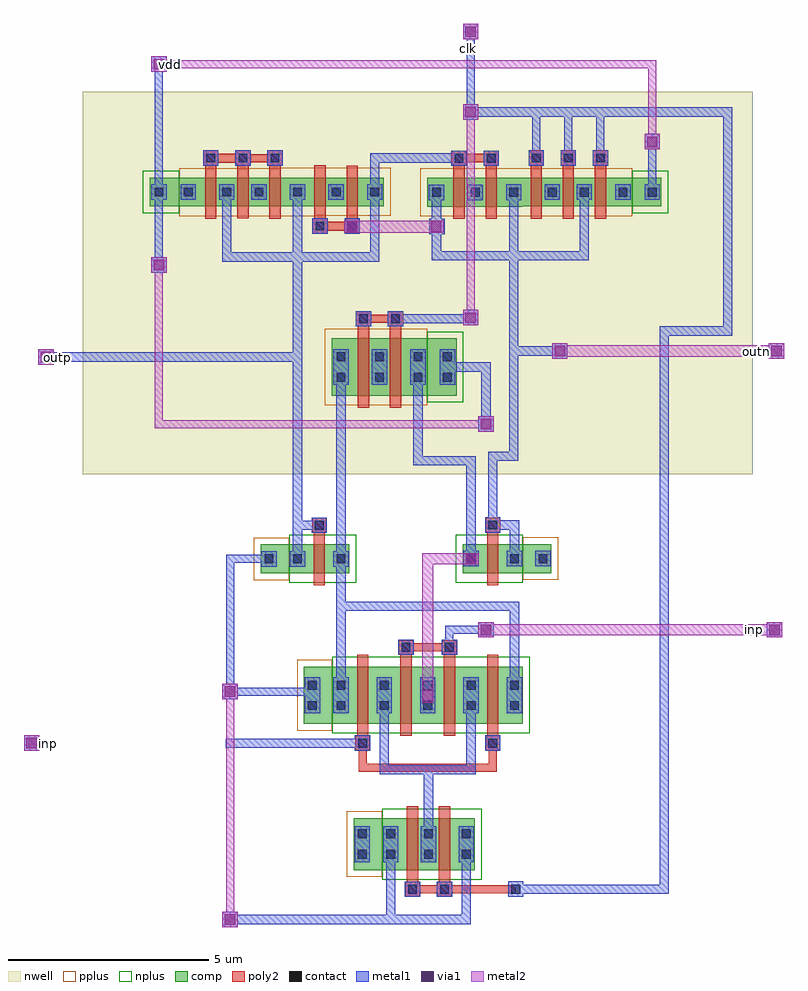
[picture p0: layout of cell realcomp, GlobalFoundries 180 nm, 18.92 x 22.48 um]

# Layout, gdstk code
from math import pi, radians
import gdstk
lib = gdstk.Library(unit=1e-6, precision=5e-09)
def R(c, l, rs):  # rectangles x0, y0, x1, y1
    for r in rs: c.add(gdstk.rectangle(r[:2], r[2:], *l))
def A(c, l, x, y, w, h, nx, ny, dx, dy):  # array of equal rectangles
    R(c, l, [(x+i*dx, y+j*dy, x+i*dx+w, y+j*dy+h) for i in range(nx) for j in range(ny)])
nwell = (21, 0)
comp = (22, 0)
poly2 = (30, 0)
pplus = (31, 0)
nplus = (32, 0)
contact = (33, 0)
metal1 = (34, 0)
via1 = (35, 0)
metal2 = (36, 0)

pfet_12 = lib.new_cell('pfet$12')
R(pfet_12, nwell, [(-1.15,-0.69,4.14,1.405)])
R(pfet_12, comp, [(-0.46,0,0,0.715), (0,0,2.26,0.715), (2.26,0,2.72,0.715), (2.72,0,3.45,0.715)])
A(pfet_12, poly2, 0.14, -0.68, 0.38, 0.38, 3, 1, 0.8, 0)
R(pfet_12, poly2, [(0.19,-0.3,0.47,1.015), (0.99,-0.3,1.27,1.01), (1.79,-0.3,2.07,1.015)])
R(pfet_12, pplus, [(-0.63,-0.24,2.72,0.955)])
R(pfet_12, nplus, [(2.72,-0.17,3.62,0.885)])
A(pfet_12, contact, 0.22, -0.6, 0.22, 0.22, 3, 1, 0.8, 0)
R(pfet_12, contact, [(-0.34,0.245,-0.12,0.465), (0.62,0.245,0.84,0.465), (1.42,0.245,1.64,0.465), (2.38,0.245,2.6,0.465), (3.11,0.245,3.33,0.465)])
A(pfet_12, metal1, 0.14, -0.68, 0.38, 0.38, 3, 1, 0.8, 0)
R(pfet_12, metal1, [(-0.42,0.165,-0.04,0.55), (0.54,0.165,0.92,0.55), (1.34,0.165,1.72,0.55), (2.3,0.165,2.68,0.55), (3.03,0.165,3.41,0.55)])

pfet = lib.new_cell('pfet')
R(pfet, nwell, [(-0.9,-0.44,2.36,1.155)])
R(pfet, comp, [(-0.46,0,0,0.715), (0,0,1.46,0.715), (1.46,0,1.92,0.715)])
R(pfet, poly2, [(0.14,-0.68,0.52,-0.3), (0.94,-0.68,1.32,-0.3), (0.19,-0.3,0.47,1.015), (0.99,-0.3,1.27,1.01)])
R(pfet, pplus, [(-0.63,-0.24,2.09,0.955)])
A(pfet, contact, -0.34, 0.245, 0.22, 0.22, 3, 1, 0.96, 0)
R(pfet, contact, [(0.22,-0.6,0.44,-0.38), (1.02,-0.6,1.24,-0.38)])
A(pfet, metal1, -0.42, 0.165, 0.38, 0.385, 3, 1, 0.96, 0)
R(pfet, metal1, [(0.14,-0.68,0.52,-0.3), (0.94,-0.68,1.32,-0.3)])

nfet_4 = lib.new_cell('nfet$4')
R(nfet_4, comp, [(-0.42,0,0,0.715), (0,0,0.66,0.715), (0.66,0,1.08,0.715), (1.08,0,1.79,0.715)])
R(nfet_4, poly2, [(0.15,-0.66,0.51,-0.3), (0.19,-0.3,0.47,1.015)])
R(nfet_4, pplus, [(1.08,-0.17,1.96,0.885)])
R(nfet_4, nplus, [(-0.59,-0.24,1.08,0.955)])
R(nfet_4, contact, [(0.22,-0.59,0.44,-0.37), (-0.32,0.245,-0.1,0.465), (0.76,0.245,0.98,0.465), (1.47,0.245,1.69,0.465)])
R(nfet_4, metal1, [(0.14,-0.67,0.52,-0.29), (-0.4,0.165,-0.02,0.55), (0.68,0.165,1.06,0.55), (1.39,0.165,1.77,0.55)])

nfet = lib.new_cell('nfet')
R(nfet, comp, [(-0.42,0,0,1.425), (0,0,0.66,1.425), (0.66,0,1.08,1.425)])
R(nfet, poly2, [(0.15,-0.66,0.51,-0.3), (0.19,-0.3,0.47,1.725)])
R(nfet, nplus, [(-0.59,-0.24,1.25,1.665)])
R(nfet, contact, [(0.22,-0.59,0.44,-0.37), (-0.32,0.35,-0.1,0.57), (0.76,0.35,0.98,0.57), (-0.32,0.86,-0.1,1.08), (0.76,0.86,0.98,1.08)])
R(nfet, metal1, [(0.14,-0.67,0.52,-0.29), (-0.4,0.27,-0.02,1.16), (0.68,0.27,1.06,1.16)])

nfet_9 = lib.new_cell('nfet$9')
R(nfet_9, comp, [(-0.42,0,0,0.715), (0,0,0.66,0.715), (0.66,0,1.08,0.715), (1.08,0,1.79,0.715)])
R(nfet_9, poly2, [(0.19,-0.3,0.47,1.015), (0.15,1.015,0.51,1.375)])
R(nfet_9, pplus, [(1.08,-0.17,1.96,0.885)])
R(nfet_9, nplus, [(-0.59,-0.24,1.08,0.955)])
R(nfet_9, contact, [(-0.32,0.245,-0.1,0.465), (0.76,0.245,0.98,0.465), (1.47,0.245,1.69,0.465), (0.22,1.085,0.44,1.305)])
R(nfet_9, metal1, [(-0.4,0.165,-0.02,0.55), (0.68,0.165,1.06,0.55), (1.39,0.165,1.77,0.55), (0.14,1,0.52,1.385)])

nfet_6 = lib.new_cell('nfet$6')
R(nfet_6, comp, [(-0.42,0,0,1.425), (0,0,0.66,1.425), (0.66,0,1.08,1.425), (1.08,0,1.79,1.425)])
R(nfet_6, poly2, [(0.19,-0.3,0.47,1.725), (0.15,1.725,0.51,2.085)])
R(nfet_6, pplus, [(1.08,-0.17,1.96,1.595)])
R(nfet_6, nplus, [(-0.59,-0.24,1.08,1.665)])
R(nfet_6, contact, [(-0.32,0.35,-0.1,0.57), (0.76,0.35,0.98,0.57), (1.47,0.35,1.69,0.57), (-0.32,0.86,-0.1,1.08), (0.76,0.86,0.98,1.08), (1.47,0.86,1.69,1.08), (0.22,1.795,0.44,2.015)])
R(nfet_6, metal1, [(-0.4,0.27,-0.02,1.16), (0.68,0.27,1.06,1.16), (1.39,0.27,1.77,1.16), (0.14,1.715,0.52,2.095)])

nfet_1 = lib.new_cell('nfet$1')
R(nfet_1, comp, [(-0.42,0,0,1.425), (0,0,0.66,1.425), (0.66,0,1.08,1.425)])
R(nfet_1, poly2, [(0.19,-0.3,0.47,1.725), (0.15,1.725,0.51,2.085)])
R(nfet_1, nplus, [(-0.59,-0.24,1.25,1.665)])
R(nfet_1, contact, [(-0.32,0.35,-0.1,0.57), (0.76,0.35,0.98,0.57), (-0.32,0.86,-0.1,1.08), (0.76,0.86,0.98,1.08), (0.22,1.795,0.44,2.015)])
R(nfet_1, metal1, [(-0.4,0.27,-0.02,1.16), (0.68,0.27,1.06,1.16), (0.14,1.715,0.52,2.095)])

nfet_7 = lib.new_cell('nfet$7')
R(nfet_7, comp, [(-0.42,0,0,1.29), (0,0,1.46,1.29), (1.46,0,1.88,1.29), (1.88,0,2.59,1.29)])
R(nfet_7, poly2, [(0.19,-0.3,0.47,1.59), (0.99,-0.3,1.27,1.59), (0.15,1.59,0.51,1.95), (0.95,1.59,1.31,1.95)])
R(nfet_7, pplus, [(1.88,-0.17,2.76,1.46)])
R(nfet_7, nplus, [(-0.59,-0.24,1.88,1.53)])
A(nfet_7, contact, -0.32, 0.28, 0.22, 0.22, 3, 2, 0.94, 0.51)
R(nfet_7, contact, [(2.27,0.28,2.49,0.5), (2.27,0.79,2.49,1.01), (0.22,1.66,0.44,1.88), (1.02,1.66,1.24,1.88)])
A(nfet_7, metal1, -0.4, 0.2, 0.38, 0.89, 3, 1, 0.94, 0)
R(nfet_7, metal1, [(2.19,0.2,2.57,1.09), (0.14,1.575,0.52,1.96), (0.94,1.575,1.32,1.96)])

pfet_3 = lib.new_cell('pfet$3')
R(pfet_3, nwell, [(-1.15,-0.69,3.34,2.115)])
R(pfet_3, comp, [(-0.46,0,0,1.425), (0,0,1.46,1.425), (1.46,0,1.92,1.425), (1.92,0,2.65,1.425)])
R(pfet_3, poly2, [(0.19,-0.3,0.47,1.725), (0.99,-0.3,1.27,1.725), (0.14,1.725,0.52,2.105), (0.94,1.725,1.32,2.105)])
R(pfet_3, pplus, [(-0.63,-0.24,1.92,1.665)])
R(pfet_3, nplus, [(1.92,-0.17,2.82,1.595)])
A(pfet_3, contact, -0.34, 0.35, 0.22, 0.22, 3, 2, 0.96, 0.51)
R(pfet_3, contact, [(2.31,0.35,2.53,0.57), (2.31,0.86,2.53,1.08), (0.22,1.805,0.44,2.025), (1.02,1.805,1.24,2.025)])
A(pfet_3, metal1, -0.42, 0.27, 0.38, 0.89, 3, 1, 0.96, 0)
R(pfet_3, metal1, [(2.23,0.27,2.61,1.16), (0.14,1.725,0.52,2.105), (0.94,1.725,1.32,2.105)])

pfet_1 = lib.new_cell('pfet$1')
R(pfet_1, nwell, [(-1.15,-0.69,4.14,1.405)])
R(pfet_1, comp, [(-0.46,0,0,0.715), (0,0,2.26,0.715), (2.26,0,2.72,0.715), (2.72,0,3.45,0.715)])
A(pfet_1, poly2, 0.14, 1.015, 0.38, 0.38, 3, 1, 0.8, 0)
R(pfet_1, poly2, [(0.19,-0.3,0.47,1.015), (0.99,-0.3,1.27,1.01), (1.79,-0.3,2.07,1.015)])
R(pfet_1, pplus, [(-0.63,-0.24,2.72,0.955)])
R(pfet_1, nplus, [(2.72,-0.17,3.62,0.885)])
A(pfet_1, contact, 0.22, 1.095, 0.22, 0.22, 3, 1, 0.8, 0)
R(pfet_1, contact, [(-0.34,0.245,-0.12,0.465), (0.62,0.245,0.84,0.465), (1.42,0.245,1.64,0.465), (2.38,0.245,2.6,0.465), (3.11,0.245,3.33,0.465)])
A(pfet_1, metal1, 0.14, 1.01, 0.38, 0.385, 3, 1, 0.8, 0)
R(pfet_1, metal1, [(-0.42,0.165,-0.04,0.55), (0.54,0.165,0.92,0.55), (1.34,0.165,1.72,0.55), (2.3,0.165,2.68,0.55), (3.03,0.165,3.41,0.55)])

realcomp = lib.new_cell('realcomp')
R(realcomp, nwell, [(13.15,-5.14,29.83,4.38)])
R(realcomp, poly2, [(25.1,2.54,25.38,2.545)])
R(realcomp, contact, [(23.82,-15.575,24.04,-15.355), (25.53,1.775,25.75,1.995), (25.53,1.775,25.75,1.995)])
R(realcomp, metal1, [(16.63,-16.41,17.01,-16.025), (23.74,-15.655,24.12,-15.27), (11.69,-12.02,12.07,-11.635), (11.69,-12.02,12.07,-11.635), (16.63,-10.74,17.01,-10.355), (16.63,-10.74,17.01,-10.355), (23,-9.2,23.38,-8.815), (30.185,-9.2,30.565,-8.815), (23,-4.08,23.38,-3.695), (12.05,-2.41,12.43,-2.025), (24.84,-2.26,25.22,-1.875), (30.23,-2.26,30.61,-1.875), (22.62,-1.43,23,-1.045), (14.86,-0.12,15.24,0.265), (14.86,-0.12,15.24,0.265), (21.78,0.84,22.16,1.22), (27.14,2.95,27.52,3.335), (27.14,2.95,27.52,3.335), (22.62,3.69,23,4.075), (14.86,4.88,15.24,5.265), (14.86,4.88,15.24,5.265), (22.62,5.69,23,6.075)])
R(realcomp, via1, [(16.69,-16.35,16.95,-16.09), (11.75,-11.96,12.01,-11.7), (11.75,-11.96,12.01,-11.7), (21.61,-10.77,21.87,-10.51), (16.69,-10.68,16.95,-10.42), (16.69,-10.68,16.95,-10.42), (23.06,-9.14,23.32,-8.88), (30.245,-9.14,30.505,-8.88), (22.69,-7.37,22.95,-7.11), (23.06,-4.02,23.32,-3.76), (12.11,-2.35,12.37,-2.09), (24.9,-2.2,25.16,-1.94), (30.29,-2.2,30.55,-1.94), (22.68,-1.37,22.94,-1.11), (14.92,-0.06,15.18,0.2), (14.92,-0.06,15.18,0.2), (21.82,0.9,22.08,1.16), (19.725,0.905,19.985,1.165), (27.2,3.01,27.46,3.27), (27.2,3.01,27.46,3.27), (22.68,3.75,22.94,4.01), (14.92,4.94,15.18,5.2), (14.92,4.94,15.18,5.2), (22.68,5.75,22.94,6.01)])
R(realcomp, metal2, [(16.63,-16.41,17.01,-16.025), (11.69,-12.02,12.07,-11.635), (11.69,-12.02,12.07,-11.635), (16.63,-10.74,17.01,-10.355), (16.63,-10.74,17.01,-10.355), (23,-9.2,23.38,-8.815), (30.185,-9.2,30.565,-8.815), (23,-4.08,23.38,-3.695), (12.05,-2.41,12.43,-2.025), (24.84,-2.26,25.22,-1.875), (30.23,-2.26,30.61,-1.875), (22.62,-1.43,23,-1.045), (14.86,-0.12,15.24,0.265), (14.86,-0.12,15.24,0.265), (27.14,2.95,27.52,3.335), (27.14,2.95,27.52,3.335), (22.62,3.69,23,4.075), (14.86,4.88,15.24,5.265), (14.86,4.88,15.24,5.265), (22.62,5.69,23,6.075)])
realcomp.add(gdstk.FlexPath([(19.58,-7.28),(19.58,-2.42)], 0.23, ends="flush", simple_path=True, layer=34, datatype=0))  # metal1
realcomp.add(gdstk.FlexPath([(22.82,-7.24),(22.82,-4.8),(21.5,-4.8),(21.5,-2.465)], 0.23, ends="flush", simple_path=True, layer=34, datatype=0))  # metal1
realcomp.add(gdstk.FlexPath([(16.74,1.89),(16.74,0.27),(20.42,0.27),(20.42,1.885)], 0.23, ends="flush", simple_path=True, layer=34, datatype=0))  # metal1
realcomp.add(gdstk.FlexPath([(18.5,-7.24),(18.5,1.89)], 0.23, ends="flush", simple_path=True, layer=34, datatype=0))  # metal1
realcomp.add(gdstk.FlexPath([(21.96,2.02),(21.96,0.3),(25.64,0.3),(25.64,2.01)], 0.23, ends="flush", simple_path=True, layer=34, datatype=0))  # metal1
realcomp.add(gdstk.FlexPath([(20.42,1.885),(20.42,2.735),(22.52,2.735)], 0.23, ends="flush", simple_path=True, layer=34, datatype=0))  # metal1
realcomp.add(gdstk.FlexPath([(23.36,-6.405),(23.36,-4.69),(23.88,-4.69),(23.88,1.885)], 0.23, ends="flush", simple_path=True, layer=34, datatype=0))  # metal1
realcomp.add(gdstk.FlexPath([(20.82,-14.345),(20.82,-16.22),(22.7,-16.22),(22.7,-14.345)], 0.23, ends="flush", simple_path=True, layer=34, datatype=0))  # metal1
realcomp.add(gdstk.FlexPath([(19.58,-10.64),(19.58,-7.13)], 0.23, ends="flush", simple_path=True, layer=34, datatype=0))  # metal1
realcomp.add(gdstk.FlexPath([(16.82,-16.22),(20.82,-16.22)], 0.23, ends="flush", simple_path=True, layer=34, datatype=0))  # metal1
realcomp.add(gdstk.FlexPath([(23.9,-7.24),(23.9,-6.4),(23.36,-6.4)], 0.23, ends="flush", simple_path=True, layer=34, datatype=0))  # metal1
realcomp.add(gdstk.FlexPath([(25.03,-2.07),(23.88,-2.07)], 0.23, ends="flush", simple_path=True, layer=34, datatype=0))  # metal1
realcomp.add(gdstk.FlexPath([(12.24,-2.22),(18.5,-2.22)], 0.23, ends="flush", simple_path=True, layer=34, datatype=0))  # metal1
realcomp.add(gdstk.FlexPath([(22.28,-9.445),(22.28,-9.01),(23.19,-9.01)], 0.2, ends="flush", simple_path=True, layer=34, datatype=0))  # metal1
realcomp.add(gdstk.FlexPath([(20.12,-11.83),(16.71,-11.83)], 0.23, ends="flush", simple_path=True, layer=34, datatype=0))  # metal1
realcomp.add(gdstk.FlexPath([(20.94,-1.265),(22.84,-1.265)], 0.23, ends="flush", simple_path=True, layer=34, datatype=0))  # metal1
realcomp.add(gdstk.FlexPath([(23.93,-15.465),(27.63,-15.465),(27.63,-1.57),(29.21,-1.57),(29.21,3.88),(22.81,3.88),(22.81,3.88)], 0.23, ends="flush", simple_path=True, layer=34, datatype=0))  # metal1
realcomp.add(gdstk.FlexPath([(24.44,2.735),(24.44,3.88)], 0.2, ends="flush", simple_path=True, layer=34, datatype=0))  # metal1
realcomp.add(gdstk.FlexPath([(25.24,2.735),(25.24,3.88)], 0.2, ends="flush", simple_path=True, layer=34, datatype=0))  # metal1
realcomp.add(gdstk.FlexPath([(26.04,2.735),(26.04,3.88)], 0.2, ends="flush", simple_path=True, layer=34, datatype=0))  # metal1
realcomp.add(gdstk.FlexPath([(22.23,-2.465),(23.19,-2.465),(23.19,-3.89)], 0.23, ends="flush", simple_path=True, layer=34, datatype=0))  # metal1
realcomp.add(gdstk.FlexPath([(27.33,1.885),(27.33,3.14)], 0.2, ends="flush", simple_path=True, layer=34, datatype=0))  # metal1
realcomp.add(gdstk.FlexPath([(15.05,0.07),(15.05,1.89)], 0.2, ends="flush", simple_path=True, layer=34, datatype=0))  # metal1
realcomp.add(gdstk.FlexPath([(15.05,1.89),(15.05,5.07)], 0.2, ends="flush", simple_path=True, layer=34, datatype=0))  # metal1
realcomp.add(gdstk.FlexPath([(22.81,3.88),(22.81,5.84)], 0.2, ends="flush", simple_path=True, layer=34, datatype=0))  # metal1
realcomp.add(gdstk.FlexPath([(16.82,-10.55),(18.88,-10.55)], 0.2, ends="flush", simple_path=True, layer=34, datatype=0))  # metal1
realcomp.add(gdstk.FlexPath([(16.82,-10.55),(16.82,-7.24),(17.79,-7.24)], 0.2, ends="flush", simple_path=True, layer=34, datatype=0))  # metal1
realcomp.add(gdstk.FlexPath([(21.76,-14.345),(21.76,-12.49)], 0.23, ends="flush", simple_path=True, layer=34, datatype=0))  # metal1
realcomp.add(gdstk.FlexPath([(20.66,-10.385),(20.66,-12.49),(22.82,-12.49),(22.82,-10.385)], 0.23, ends="flush", simple_path=True, layer=34, datatype=0))  # metal1
realcomp.add(gdstk.FlexPath([(23.9,-10.71),(23.9,-8.42),(19.55,-8.42)], 0.23, ends="flush", simple_path=True, layer=34, datatype=0))  # metal1
realcomp.add(gdstk.FlexPath([(19.04,-6.405),(18.49,-6.405)], 0.23, ends="flush", simple_path=True, layer=34, datatype=0))  # metal1
realcomp.add(gdstk.FlexPath([(20.12,-11.83),(20.12,-12.44),(23.36,-12.44),(23.36,-11.83)], 0.2, ends="flush", simple_path=True, layer=30, datatype=0))  # poly2
realcomp.add(gdstk.FlexPath([(17.11,2.73),(16.34,2.73)], 0.23, ends="flush", simple_path=True, layer=30, datatype=0))  # poly2
realcomp.add(gdstk.FlexPath([(17.19,2.73),(17.92,2.73)], 0.2, ends="flush", simple_path=True, layer=30, datatype=0))  # poly2
realcomp.add(gdstk.FlexPath([(21.36,-15.465),(22.16,-15.465)], 0.2, ends="flush", simple_path=True, layer=30, datatype=0))  # poly2
realcomp.add(gdstk.FlexPath([(20.14,-1.265),(20.94,-1.265)], 0.2, ends="flush", simple_path=True, layer=30, datatype=0))  # poly2
realcomp.add(gdstk.FlexPath([(22.16,-15.465),(23.93,-15.465)], 0.2, ends="flush", simple_path=True, layer=30, datatype=0))  # poly2
realcomp.add(gdstk.FlexPath([(19.06,1.04),(19.86,1.04)], 0.23, ends="flush", simple_path=True, layer=30, datatype=0))  # poly2
realcomp.add(gdstk.FlexPath([(23.32,2.735),(22.52,2.735)], 0.22, ends="flush", simple_path=True, layer=30, datatype=0))  # poly2
realcomp.add(gdstk.FlexPath([(21.2,-9.445),(22.28,-9.445),(22.28,-9.445)], 0.2, ends="flush", simple_path=True, layer=30, datatype=0))  # poly2
realcomp.add(gdstk.FlexPath([(21.74,-10.83),(21.74,-7.24),(23.01,-7.24)], 0.28, ends="flush", simple_path=True, layer=36, datatype=0))  # metal2
realcomp.add(gdstk.FlexPath([(19.665,1.03),(22.14,1.03)], 0.3, ends="flush", simple_path=True, layer=36, datatype=0))  # metal2
realcomp.add(gdstk.FlexPath([(23.19,-9.01),(30.375,-9.01)], 0.28, ends="flush", simple_path=True, layer=36, datatype=0))  # metal2
realcomp.add(gdstk.FlexPath([(22.81,-1.24),(22.81,3.88)], 0.2, ends="flush", simple_path=True, layer=36, datatype=0))  # metal2
realcomp.add(gdstk.FlexPath([(25.03,-2.07),(30.42,-2.07)], 0.28, ends="flush", simple_path=True, layer=36, datatype=0))  # metal2
realcomp.add(gdstk.FlexPath([(27.33,3.14),(27.33,5.07),(14.99,5.07)], 0.2, ends="flush", simple_path=True, layer=36, datatype=0))  # metal2
realcomp.add(gdstk.FlexPath([(23.19,-3.89),(15.05,-3.89),(15.05,0.07)], 0.2, ends="flush", simple_path=True, layer=36, datatype=0))  # metal2
realcomp.add(gdstk.FlexPath([(16.82,-10.55),(16.82,-16.22)], 0.2, ends="flush", simple_path=True, layer=36, datatype=0))  # metal2
realcomp.add(gdstk.Reference(pfet_12, (18.27,2.245), rotation=pi))
realcomp.add(gdstk.Reference(pfet, (18.73,1.535)))
realcomp.add(gdstk.Reference(nfet_4, (19.37,-6.885), rotation=pi))
realcomp.add(gdstk.Reference(nfet, (21.53,-9.925), rotation=pi))
realcomp.add(gdstk.Reference(nfet_9, (23.03,-7.595)))
realcomp.add(gdstk.Reference(nfet_6, (20.45,-9.925), rotation=pi))
realcomp.add(gdstk.Reference(nfet_1, (23.69,-9.925), rotation=pi))
realcomp.add(gdstk.Reference(nfet, (22.61,-9.925), rotation=pi))
realcomp.add(gdstk.Reference(nfet_7, (22.49,-13.7), rotation=pi))
realcomp.add(gdstk.Reference(pfet_3, (19.81,-3.18)))
realcomp.add(gdstk.Reference(pfet_1, (24.11,1.53)))
realcomp.add(gdstk.Reference(pfet, (23.65,2.24), rotation=pi))
realcomp.add(gdstk.Label('clk', (22.765,5.475), layer=34, texttype=10))
realcomp.add(gdstk.Label('inp', (12.305,-11.835), layer=34, texttype=10))
realcomp.add(gdstk.Label('outp', (12.53,-2.22), layer=34, texttype=10))
realcomp.add(gdstk.Label('outn', (29.915,-2.075), layer=34, texttype=10))
realcomp.add(gdstk.Label('inp', (29.885,-9.01), layer=36, texttype=10))
realcomp.add(gdstk.Label('vdd', (15.34,5.07), layer=36, texttype=10))

lib.write_gds('realcomp.gds')
